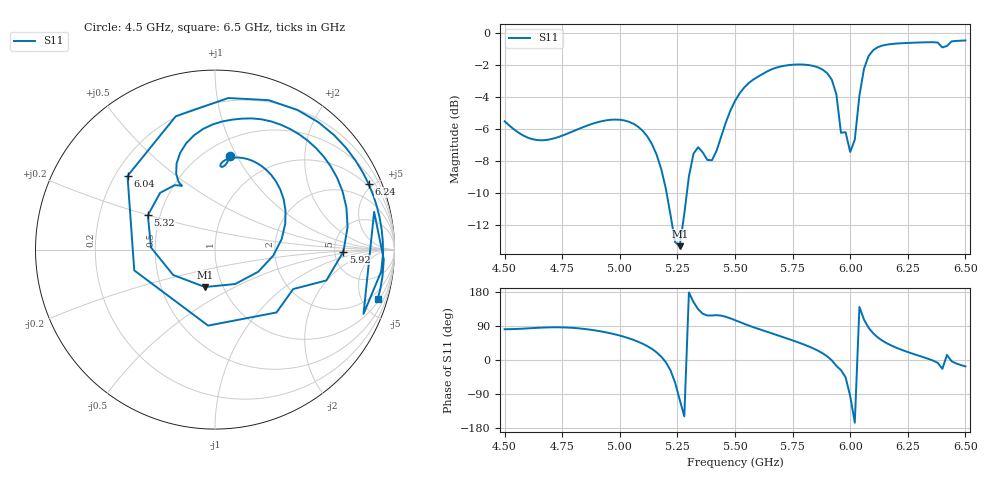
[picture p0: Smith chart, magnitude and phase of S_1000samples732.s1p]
! TOUCHSTONE file generated by CST MICROWAVE STUDIO
! Date and time: Sat Oct 29 04:57:34 2022
! Project name: L.cst
! Parameters = {Di=1.27; Epsilon_r=1.56; InnerDiameter=1.27; Length=2; Lf=10; Lg=60; OuterConductorThickness=0.2921; OuterDiameter=3.6; Wf=3; Wp=41.2; de=1.5; df=6.8; g=0.8; gx=0.887718; gy=3.64959; h=2.34; hf=1.524; px=13.3556; py=10.9217; w=9.7; wx=12.4679; wy=7.27213}
! Header version: 2018
! Port assignment regex: !\s*Touchstone port\s*([0-9]+)\s*=\s*(CST MWS port|CST DS port)\s*([0-9]+|Zmin|Zmax)\s*\(\"(.*)\"\)(\s*mode\s*([0-9]+))?.*
! Touchstone port assignment:
! Touchstone port 1 = CST MWS port 1 ("")
# GHz S DB R 50
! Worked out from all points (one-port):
!   101 points, 4.5 GHz to 6.5 GHz, reference 50 ohm
!   lowest |S11| = -13.3 dB at 5.26 GHz (marker M1), VSWR 1.55, Z = 41.2 - j18 ohm
!   |S11| at or under -10 dB: 5.203 GHz to 5.291 GHz (87.81 MHz wide, 1.67 % of centre)
!   S11 on the Smith chart (normalised r, x): 4.5 GHz: 0.64, +0.94; 5.32 GHz: 0.43, +0.20; 5.92 GHz: 6.02, -0.28; 6.04 GHz: 0.25, +0.34; 6.24 GHz: 0.87, +4.74; 6.5 GHz: 1.20, -6.52
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4.5  -5.51 81.2
4.76  -6.36 85.9
5  -5.42 64.4
5.1  -6.12 42.7
5.18  -8.51 8.8
5.26  -13.32 -105.0
5.3  -8.96 178.1
5.32  -7.53 152.9
5.38  -7.93 117.4
5.5  -4.24 105.2
5.64  -2.39 74.4
5.76  -1.97 49.6
5.86  -2.14 24.6
5.92  -2.91 -0.9
5.98  -6.20 -45.6
6  -7.43 -95.2
6.02  -6.66 -165.6
6.04  -3.91 139.9
6.06  -2.22 106.4
6.08  -1.43 85.0
6.14  -0.78 50.9
6.24  -0.62 23.1
6.26  -0.61 18.9
6.36  -0.57 -1.6
6.4  -0.90 -23.4
6.42  -0.81 13.3
6.44  -0.52 -3.3
6.5  -0.46 -16.9
